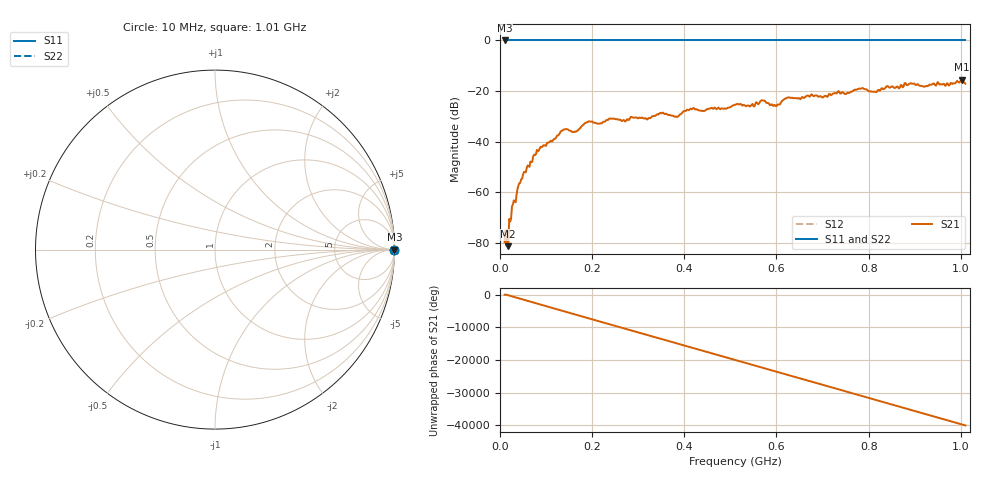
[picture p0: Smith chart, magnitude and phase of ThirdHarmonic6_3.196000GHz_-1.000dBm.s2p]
! 8/17/2025 9:41:35 AM
! C:\ANRITSUVNA\TEMP\TEMP.S2P
! CHANNEL.1
! TR.MEASUREMENT
! RAW.DATA
! RF.CORRECTION.OFF
! AVERAGING.OFF
! IF.BANDWIDTH: 5KHZ
! SWEEPTYPE:  FREQ.SWEEP(Linear)
! Reference Plane Port Info
! PORT:  PORT1  PORT2
! DISTANCE:  0  m  0  m
! TIME:  0  s  0  s
! PHASE.OFFSET:  0  deg.  0  deg.
! LOSS:  0  dB  0  dB
! REF.LOSS:  0  dB  0  dB
! REF.FREQ:  0  Hz  0  Hz
! Power Info
! POWER:  -20  dBm  -20  dBm
! EFF.POWER:  -20  dBm  -20  dBm
! SOURCE.ATTEN:  0  dB  0  dB
! TEST.ATTEN:  0  dB  0  dB
# GHZ S RI R 50.0
! FREQ.GHZ  S11RE  S11IM  S21RE  S21IM  S12RE  S12IM  S22RE  S22IM
!; PortSelection: Port_12
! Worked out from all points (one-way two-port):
!   501 points, 10 MHz to 1.01 GHz, reference 50 ohm
!   highest |S21| = -15.51 dB at 1.002 GHz (marker M1); lowest = -81.3 dB at 18 MHz (marker M2)
!   lowest |S11| = 0.0 dB at 10 MHz (marker M3)
!   |S11| at or under -10 dB: nowhere
!   |S22| runs from 0.0 to 0.0 dB; largest |S21 - S12| = 1.2
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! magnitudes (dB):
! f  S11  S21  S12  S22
! 10 MHz  0.0  -79.8  0.0  0.0
! 18 MHz  0.0  -81.3  0.0  0.0
! 24 MHz  0.0  -70.4  0.0  0.0
! 42 MHz  0.0  -56.4  0.0  0.0
! 76 MHz  0.0  -45.3  0.0  0.0
! 136 MHz  0.0  -35.5  0.0  0.0
! 162 MHz  0.0  -36.0  0.0  0.0
! 178 MHz  0.0  -33.7  0.0  0.0
! 344 MHz  0.0  -29.2  0.0  0.0
! 382 MHz  0.0  -30.0  0.0  0.0
! 416 MHz  0.0  -27.2  0.0  0.0
! 510 MHz  0.0  -25.4  0.0  0.0
! 548 MHz  0.0  -25.1  0.0  0.0
! 570 MHz  0.0  -23.7  0.0  0.0
! 596 MHz  0.0  -25.5  0.0  0.0
! 624 MHz  0.0  -22.5  0.0  0.0
! 678 MHz  0.0  -21.5  0.0  0.0
! 784 MHz  0.0  -19.0  0.0  0.0
! 814 MHz  0.0  -20.2  0.0  0.0
! 844 MHz  0.0  -18.5  0.0  0.0
! 1.002 GHz  0.0  -15.5  0.0  0.0
! 1.01 GHz  0.0  -17.1  0.0  0.0
